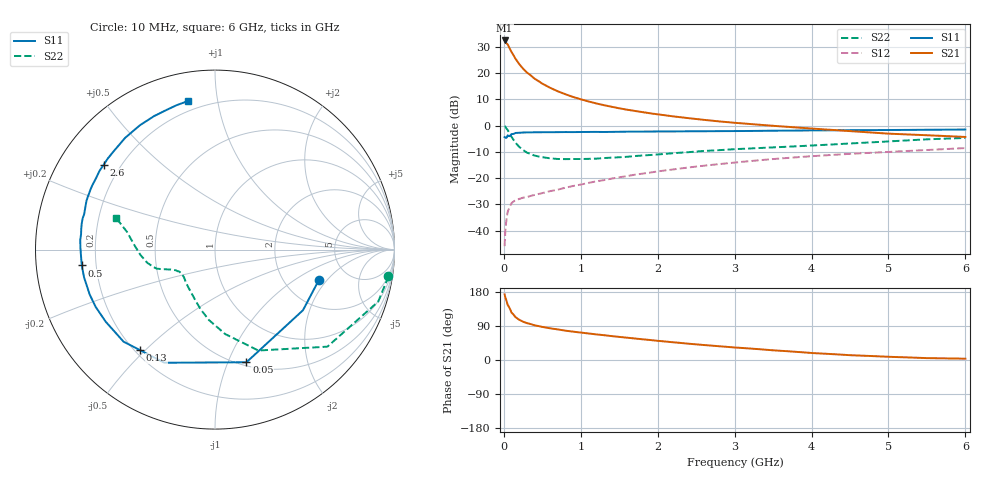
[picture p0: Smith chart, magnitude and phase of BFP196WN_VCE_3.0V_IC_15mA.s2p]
! Infineon Technologies  Discrete & RF Semiconductors
! BFP196WN
! VCE =  3.0 V,  IC =  15 mA
! Common Emitter S-Parameters:  Jan 2017
# GHz  S  MA  R  50
!  f  S11  S21  S12  S22
! GHz  MAG  ANG  MAG  ANG  MAG  ANG  MAG  ANG
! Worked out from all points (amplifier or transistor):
!   77 points, 10 MHz to 6 GHz, reference 50 ohm
!   highest |S21| = 32.4 dB at 10 MHz (marker M1)
!   |S21| within 3 dB of that: start of sweep to 75.35 MHz
!   unconditionally stable (mu >= 1): 982.8 MHz to 2.712 GHz
!   at 130 MHz: K = 0.26, MSG = 27.7 dB, |S12| = -28.8 dB
!   at 2.2 GHz: K = 1.04, MAG = 8.8 dB, |S12| = -16.7 dB
!   at 6 GHz: K = 0.89, MSG = 2.1 dB, |S12| = -8.6 dB
!   S11 on the Smith chart (normalised r, x): 10 MHz: 3.06, -1.65; 50 MHz: 0.54, -1.17; 130 MHz: 0.22, -0.48; 500 MHz: 0.14, -0.06; 2.6 GHz: 0.14, +0.33; 6 GHz: 0.15, +0.83
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0.01  0.6025 -16.6  41.47 173.2  0.0051 84.4  0.9781 -8.8
0.02  0.5953 -34.6  39.48 164.8  0.0103 75.1  0.9544 -17.7
0.05  0.6517 -74.4  34.79 145.4  0.023 60.4  0.8275 -40.8
0.1  0.6905 -114.1  25.01 124.8  0.0337 44.9  0.6118 -66.8
0.13  0.699 -126.8  21.17 118.8  0.0363 40.7  0.5239 -75.6
0.15  0.723 -134.8  18.79 113.4  0.0381 38.2  0.4741 -83.1
0.2  0.7295 -146.6  14.72 106.1  0.0403 36.4  0.3941 -94.9
0.25  0.7376 -154.4  12.08 101.0  0.0426 35.6  0.3438 -103.2
0.3  0.7416 -160.2  10.21 97.3  0.0439 36.9  0.3065 -110.4
0.4  0.7457 -167.9  7.776 91.5  0.0481 39.2  0.269 -120.7
0.5  0.7475 -173.2  6.262 87.3  0.052 41.8  0.2503 -128.5
0.6  0.7475 -177.6  5.239 83.7  0.0567 44.5  0.2387 -134.3
0.7  0.7499 179.2  4.491 80.7  0.0604 47.4  0.2316 -138.3
0.9  0.7512 173.4  3.499 74.8  0.071 51.0  0.2313 -143.9
1.1  0.7565 168.9  2.875 70.0  0.0813 54.5  0.2329 -147.8
1.5  0.7618 161.0  2.129 61.0  0.1038 57.4  0.2498 -152.8
2.1  0.772 150.7  1.565 48.8  0.1404 58.6  0.2902 -157.7
2.6  0.78 142.6  1.285 39.5  0.1726 57.5  0.3294 -161.0
3.1  0.7876 134.9  1.1 31.7  0.2046 54.9  0.3614 -165.2
4.1  0.8102 119.8  0.859 17.4  0.2671 48.1  0.4246 -177.9
5.1  0.8249 108.4  0.692 7.8  0.3207 40.8  0.5088 167.8
6  0.8417 100.2  0.607 3.5  0.3734 34.6  0.5818 162.1
